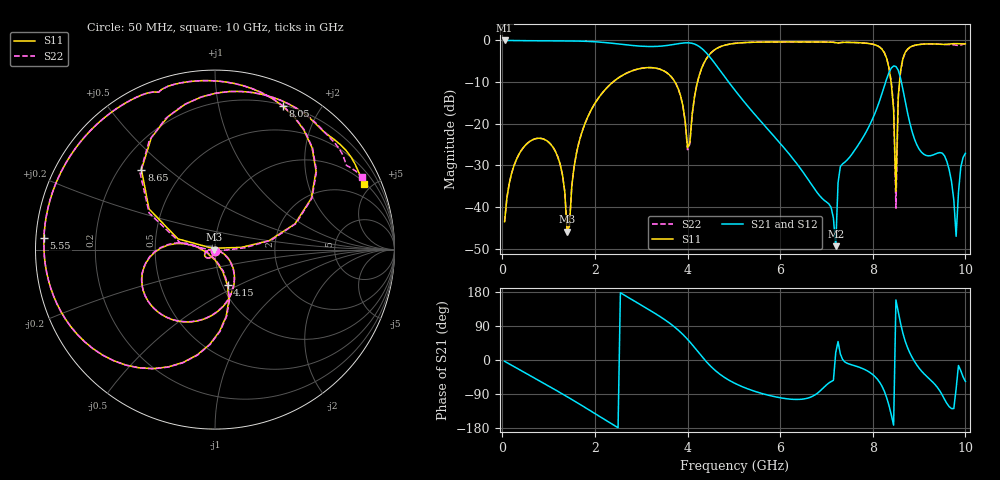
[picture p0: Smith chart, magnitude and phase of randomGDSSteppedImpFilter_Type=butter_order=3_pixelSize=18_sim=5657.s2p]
! freq	dB(S11)	phase(S11)	dB(S12)	phase(S12)
!  dB(S21)	phase(S21)	dB(S22)	phase(S22)
!S-par simulation data
#  GHz  S  DB  R 50
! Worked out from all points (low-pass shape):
!   200 points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, 50 MHz to 10 GHz, reference 50 ohm
!   highest |S21| = -0.01 dB at 50 MHz (marker M1); lowest = -49.4 dB at 7.2 GHz (marker M2)
!   |S21| within 3 dB of the highest: start of sweep to 4.407 GHz
!   lowest |S11| = -45.9 dB at 1.4 GHz (marker M3), VSWR 1.01, Z = 49.5 + j0.0118 ohm
!   |S11| at or under -10 dB: start of sweep to 2.388 GHz; 3.729 GHz to 4.215 GHz (485.6 MHz wide, 12.2 % of centre); 8.396 GHz to 8.578 GHz (181.9 MHz wide, 2.14 % of centre)
!   |S22| runs from -45.6 to -0.3 dB; largest |S21 - S12| = 0
!   S11 on the Smith chart (normalised r, x): 50 MHz: 1.00, -0.01; 4.15 GHz: 1.06, -0.44; 5.55 GHz: 0.02, +0.04; 8.05 GHz: 0.21, +1.56; 8.65 GHz: 0.29, +0.41; 10 GHz: 1.07, +4.52
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0.05  -43.48 -90.2  -0.01 -3.5  -0.01 -3.5  -43.47 -90.2
0.85  -23.54 -148.7  -0.10 -58.3  -0.10 -58.3  -23.53 -148.4
1.25  -29.75 -176.2  -0.11 -86.2  -0.11 -86.2  -29.74 -175.0
1.4  -45.86 178.7  -0.12 -96.9  -0.12 -96.9  -45.56 -171.7
1.75  -21.01 -33.6  -0.19 -122.5  -0.19 -122.5  -21.01 -34.4
3.4  -6.89 -153.8  -1.38 115.1  -1.38 115.1  -6.89 -154.2
4  -25.75 -164.8  -0.57 54.6  -0.57 54.6  -26.23 -167.3
4.15  -13.55 -70.6  -0.86 33.2  -0.86 33.2  -13.57 -69.7
5.05  -0.67 -158.3  -12.33 -63.2  -12.33 -63.2  -0.67 -158.2
5.55  -0.40 176.0  -19.00 -86.4  -19.00 -86.4  -0.40 176.0
6.7  -0.36 130.9  -34.92 -95.6  -34.92 -95.6  -0.36 130.9
7.2  -0.52 111.2  -49.36 19.5  -49.36 19.5  -0.52 111.1
7.3  -0.53 108.4  -30.24 16.0  -30.24 16.0  -0.53 108.3
8.05  -1.06 64.8  -17.39 -44.1  -17.39 -44.1  -1.05 64.7
8.35  -6.62 17.8  -7.71 -120.1  -7.71 -120.1  -6.48 17.9
8.45  -16.61 4.9  -6.12 -172.0  -6.12 -172.0  -15.74 3.4
8.5  -36.20 151.9  -6.24 158.5  -6.24 158.5  -40.24 -74.6
8.55  -13.35 163.9  -7.16 127.3  -7.16 127.3  -14.01 168.6
8.65  -4.36 132.6  -11.71 70.9  -11.71 70.9  -4.49 134.4
9.6  -0.93 45.0  -29.03 -114.7  -29.03 -114.7  -0.97 44.2
9.8  -0.75 34.2  -46.99 -75.9  -46.99 -75.9  -1.15 34.3
10  -0.82 23.7  -27.08 -56.4  -27.08 -56.4  -0.80 26.2
